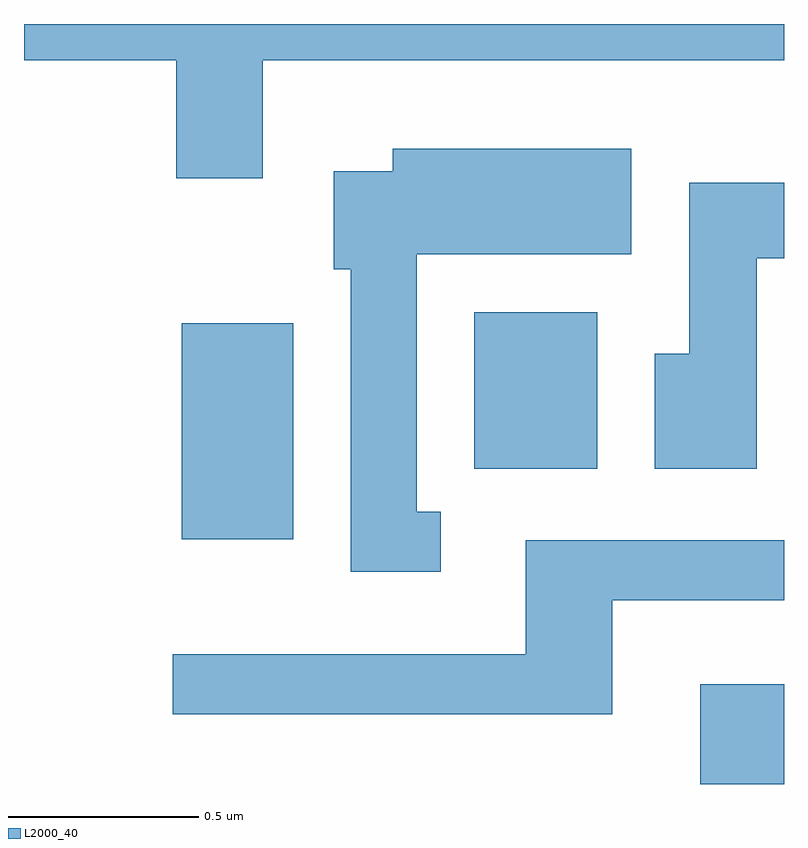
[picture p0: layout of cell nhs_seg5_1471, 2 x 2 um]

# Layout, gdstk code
import gdstk
lib = gdstk.Library(unit=1e-6, precision=1e-09)
def R(c, l, rs):  # rectangles x0, y0, x1, y1
    for r in rs: c.add(gdstk.rectangle(r[:2], r[2:], *l))
def P(c, l, *ps):  # polygons
    for p in ps: c.add(gdstk.Polygon(p, *l))
L2000_40 = (2000, 40)

nhs_seg5_1471 = lib.new_cell('nhs_seg5_1471')
R(nhs_seg5_1471, L2000_40, [(197.391,1497.072,197.611,1497.334), (196.026,1497.716,196.319,1498.284), (196.796,1497.901,197.119,1498.314)])
P(nhs_seg5_1471, L2000_40, [(196.239,1498.976),(197.611,1498.976),(197.611,1499.072),(195.611,1499.072),(195.611,1498.976),(196.011,1498.976),(196.011,1498.666),(196.239,1498.666)],
  [(196.708,1497.789),(196.644,1497.789),(196.644,1498.466),(197.209,1498.466),(197.209,1498.744),(196.581,1498.744),(196.581,1498.684),(196.426,1498.684),(196.426,1498.426),(196.471,1498.426),(196.471,1497.631),(196.708,1497.631)],
  [(197.539,1498.456),(197.611,1498.456),(197.611,1498.654),(197.361,1498.654),(197.361,1498.204),(197.271,1498.204),(197.271,1497.901),(197.539,1497.901)],
  [(197.159,1497.556),(197.611,1497.556),(197.611,1497.714),(196.931,1497.714),(196.931,1497.414),(196.003,1497.414),(196.003,1497.256),(197.159,1497.256)])

lib.write_gds('nhs_seg5_1471.gds')
